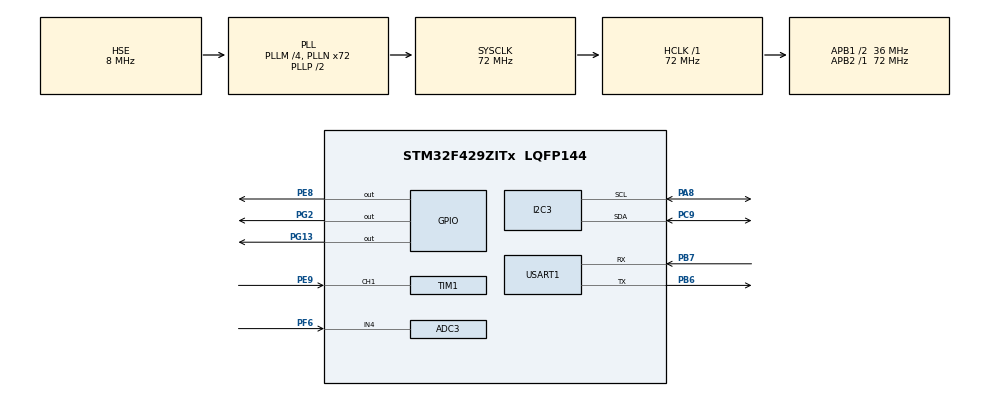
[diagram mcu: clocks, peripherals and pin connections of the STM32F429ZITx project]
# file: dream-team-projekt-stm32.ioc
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ADC3.Channel-2\#ChannelRegularConversion=ADC_CHANNEL_4
ADC3.DiscontinuousConvMode=DISABLE
ADC3.NbrOfConversionFlag=1
ADC3.Rank-2\#ChannelRegularConversion=1
ADC3.Resolution=ADC_RESOLUTION_12B
ADC3.SamplingTime-2\#ChannelRegularConversion=ADC_SAMPLETIME_3CYCLES
ADC3.ScanConvMode=DISABLE
Mcu.Family=STM32F4
Mcu.Name=STM32F429ZITx
Mcu.Package=LQFP144
NVIC.PriorityGroup=NVIC_PRIORITYGROUP_4
NVIC.TIM1_CC_IRQn=true\:0\:0\:false\:false\:true\:true\:true
NVIC.TIM2_IRQn=true\:0\:0\:false\:false\:true\:true\:true
NVIC.USART1_IRQn=true\:0\:0\:false\:false\:true\:true\:true
PA8.Mode=I2C
PA8.Signal=I2C3_SCL
PB6.Mode=Asynchronous
PB6.Signal=USART1_TX
PB7.Mode=Asynchronous
PB7.Signal=USART1_RX
PC14/OSC32_IN.Mode=LSE-External-Oscillator
PC14/OSC32_IN.Signal=RCC_OSC32_IN
PC15/OSC32_OUT.Mode=LSE-External-Oscillator
PC15/OSC32_OUT.Signal=RCC_OSC32_OUT
PC9.Mode=I2C
PC9.Signal=I2C3_SDA
PE8.Signal=GPIO_Output
PE9.Signal=S_TIM1_CH1
PF6.Mode=IN4
PF6.Signal=ADC3_IN4
PG13.Signal=GPIO_Output
PG2.GPIO_PuPd=GPIO_PULLDOWN
PG2.GPIO_Speed=GPIO_SPEED_FREQ_VERY_HIGH
PG2.Signal=GPIO_Output
PH0/OSC_IN.Mode=HSE-External-Oscillator
PH0/OSC_IN.Signal=RCC_OSC_IN
PH1/OSC_OUT.Mode=HSE-External-Oscillator
PH1/OSC_OUT.Signal=RCC_OSC_OUT
ProjectManager.HeapSize=0x200
ProjectManager.StackSize=0x400
ProjectManager.TargetToolchain=STM32CubeIDE
RCC.48MHZClocksFreq_Value=36000000
RCC.AHBFreq_Value=72000000
RCC.APB1CLKDivider=RCC_HCLK_DIV2
RCC.APB1Freq_Value=36000000
RCC.APB1TimFreq_Value=72000000
RCC.APB2Freq_Value=72000000
RCC.APB2TimFreq_Value=72000000
RCC.CortexFreq_Value=72000000
RCC.HCLKFreq_Value=72000000
RCC.HSE_VALUE=8000000
RCC.HSI_VALUE=16000000
RCC.PLLM=4
RCC.PLLN=72
RCC.PLLSourceVirtual=RCC_PLLSOURCE_HSE
RCC.SYSCLKFreq_VALUE=72000000
RCC.SYSCLKSource=RCC_SYSCLKSOURCE_PLLCLK
RCC.VCOOutputFreq_Value=144000000
SH.S_TIM1_CH1.0=TIM1_CH1,Input_Capture1_from_TI1
TIM1.Channel-Input_Capture1_from_TI1=TIM_CHANNEL_1
TIM1.Prescaler=71
TIM2.Period=35999
TIM2.Prescaler=1
USART1.VirtualMode=VM_ASYNC
VP_TIM2_VS_ClockSourceINT.Mode=Internal
board=custom

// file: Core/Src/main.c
/* USER CODE BEGIN Header */
/**
  ******************************************************************************
  * @file           : main.c
  * @brief          : Main program body
  ******************************************************************************
  * @attention
  *
  * <h2><center>&copy; Copyright (c) 2021 STMicroelectronics.
  * All rights reserved.</center></h2>
  *
  * This software component is licensed by ST under BSD 3-Clause license,
  * the "License"; You may not use this file except in compliance with the
  * License. You may obtain a copy of the License at:
  *                        opensource.org/licenses/BSD-3-Clause
  *
  ******************************************************************************
  */
/* USER CODE END Header */
#include "main.h"
#include "adc.h"
#include "i2c.h"
#include "tim.h"
#include "usart.h"
#include "gpio.h"

/* USER CODE BEGIN Includes */
#include <stdio.h>
#include <string.h>

#include "hcsr04.h"
#include "wifi.h"
#include "bme280.h"
#include "sh.h"
/* USER CODE END Includes */

/* USER CODE BEGIN PV */
SH senzor_tlo;
uint8_t errNum = 0;
BME280 senzor_zrak;
uint8_t errors = 0;
int8_t err = 0;

volatile uint8_t MJERI;
/* USER CODE END PV */

void SystemClock_Config(void);
/* USER CODE BEGIN PFP */
void Mjerenje_Vrijednosti();
/* USER CODE END PFP */

int main(void)
{

  /* MCU Configuration--------------------------------------------------------*/

  /* Reset of all peripherals, Initializes the Flash interface and the Systick. */
  HAL_Init();

  /* Configure the system clock */
  SystemClock_Config();

  /* Initialize all configured peripherals */
  MX_GPIO_Init();
  MX_USART1_UART_Init();
  MX_I2C3_Init();
  MX_ADC3_Init();
  MX_TIM2_Init();
  MX_TIM1_Init();
  /* USER CODE BEGIN 2 */
  HAL_TIM_IC_Start_IT(&htim1, TIM_CHANNEL_1);

  /*
   * INICIJALIZACIJA SENZORA ZA ZRAK I PROVJERA USPJESNOSTI
   */
  errors =  BME280_Initialise(&senzor_zrak, &hi2c3);
  if(errors != 0) {
	  HAL_GPIO_WritePin(GPIOG,GPIO_PIN_13,GPIO_PIN_SET);
  	 // while(1);
  }

  /*
   * SPAJANJE ESP-A I PROVJERA USPJESNOSTI
   */
  err = WIFI_Init("AndroidAP1", "moaa3738");
  if(err != 0) {
	  HAL_GPIO_WritePin(GPIOG,GPIO_PIN_13,GPIO_PIN_SET);
  	  // while(1);
  }

  /*
   * PROVJERA ISPRAVNOSTI MJERENJA SENZORA ZA ZRAK
   */
  errors = BME280_PerformMeasurements(&senzor_zrak);
  if(errors != 0) {
	  HAL_GPIO_WritePin(GPIOG,GPIO_PIN_13,GPIO_PIN_SET);
  	  // while(1);
  }

  /*
   * POCETNA MJERENJA SENZORA ZA ZRAK U SVRHU KALIBRACIJE
   */
  for (int i = 0; i <= 4; i++) {
	  BME280_ReadData(&senzor_zrak);
	  BME280_PerformMeasurements(&senzor_zrak);
  }

  /*
   * INICIJALIZACIJA SENZORA ZA TLO
   */
  SH_init(&senzor_tlo, &hadc3);

  /*
   * POCETNA MJERENJA ZA TLO
   */
  errors = SH_ReadData(&senzor_tlo);
  if(errors != 0) {
	  HAL_GPIO_WritePin(GPIOG,GPIO_PIN_13,GPIO_PIN_SET);
	  while(1);
  }

  /*
   * POCETNA MJERENJA RAZINE VODE
   */
  HCSR04_Read();
  HAL_Delay(500);

  /*
   * SLANJE POCETNIH MJERENJA NA SERVER
   */
  WIFI_SendRequestWithParams("ekantica.herokuapp.com", "/data",(double) 25.0, (double) senzor_tlo.soilHumidity, (double) 60.0, (double) Percentage);

  /*
   * POKRETANJE TIMERA
   */
  HAL_TIM_Base_Start_IT(&htim2);

  /* USER CODE END 2 */

  /* Infinite loop */
  /* USER CODE BEGIN WHILE */
  while (1)
  {
	  if (MJERI == 1) {
	      		Mjerenje_Vrijednosti();
	      		MJERI = 0;
	      		HAL_TIM_Base_Start_IT(&htim2);
	  }
    /* USER CODE END WHILE */

  }
}

void SystemClock_Config(void)
{
  RCC_OscInitTypeDef RCC_OscInitStruct = {0};
  RCC_ClkInitTypeDef RCC_ClkInitStruct = {0};

  /** Configure the main internal regulator output voltage
  */
  __HAL_RCC_PWR_CLK_ENABLE();
  __HAL_PWR_VOLTAGESCALING_CONFIG(PWR_REGULATOR_VOLTAGE_SCALE3);
  /** Initializes the RCC Oscillators according to the specified parameters
  * in the RCC_OscInitTypeDef structure.
  */
  RCC_OscInitStruct.OscillatorType = RCC_OSCILLATORTYPE_HSE;
  RCC_OscInitStruct.HSEState = RCC_HSE_ON;
  RCC_OscInitStruct.PLL.PLLState = RCC_PLL_ON;
  RCC_OscInitStruct.PLL.PLLSource = RCC_PLLSOURCE_HSE;
  RCC_OscInitStruct.PLL.PLLM = 4;
  RCC_OscInitStruct.PLL.PLLN = 72;
  RCC_OscInitStruct.PLL.PLLP = RCC_PLLP_DIV2;
  RCC_OscInitStruct.PLL.PLLQ = 4;
  if (HAL_RCC_OscConfig(&RCC_OscInitStruct) != HAL_OK)
  {
    Error_Handler();
  }
  /** Initializes the CPU, AHB and APB buses clocks
  */
  RCC_ClkInitStruct.ClockType = RCC_CLOCKTYPE_HCLK|RCC_CLOCKTYPE_SYSCLK
                              |RCC_CLOCKTYPE_PCLK1|RCC_CLOCKTYPE_PCLK2;
  RCC_ClkInitStruct.SYSCLKSource = RCC_SYSCLKSOURCE_PLLCLK;
  RCC_ClkInitStruct.AHBCLKDivider = RCC_SYSCLK_DIV1;
  RCC_ClkInitStruct.APB1CLKDivider = RCC_HCLK_DIV2;
  RCC_ClkInitStruct.APB2CLKDivider = RCC_HCLK_DIV1;

  if (HAL_RCC_ClockConfig(&RCC_ClkInitStruct, FLASH_LATENCY_2) != HAL_OK)
  {
    Error_Handler();
  }
}

/* USER CODE BEGIN 4 */

void Mjerenje_Vrijednosti(){
	/*
	  HAL_GPIO_WritePin(GPIOG,GPIO_PIN_13,GPIO_PIN_SET);
	  HAL_Delay(500);
	  HAL_GPIO_WritePin(GPIOG,GPIO_PIN_13,GPIO_PIN_RESET);
	  */

	/*
	 * MJERENJA ZA ZRAK
	 */
	BME280_PerformMeasurements(&senzor_zrak);
	err = BME280_ReadData(&senzor_zrak);
	if(err != HAL_OK) {
		HAL_GPIO_WritePin(GPIOG,GPIO_PIN_13,GPIO_PIN_SET);
		// while(1);
	}

	/*
	 * MJERENJA ZA TLO
	 */
	errors = SH_ReadData(&senzor_tlo);
	if(errors != 0) {
		HAL_GPIO_WritePin(GPIOG,GPIO_PIN_13,GPIO_PIN_SET);
		// while(1);
	}

	/*
	 * MJERENJA RAZINE VODE
	 */
	HCSR04_Read();
	HAL_Delay(500);

    // ne brisati timer jer ce hsr04 mozda poslati staru vrijednost
	  /*
	  HAL_GPIO_WritePin(GPIOG,GPIO_PIN_13,GPIO_PIN_SET);
	  HAL_Delay(5000);
	  HAL_GPIO_WritePin(GPIOG,GPIO_PIN_13,GPIO_PIN_RESET);
	  HAL_Delay(500);
	  */

	/*
	 * SLANJE PODATAKA NA SERVER
	 */
	int8_t val = WIFI_SendRequestWithParams("ekantica.herokuapp.com", "/data",(double) 25.0, (double) senzor_tlo.soilHumidity, (double) 60.0, (double) Percentage);

	 if(val == 0) {

	 } else if(val == 1) {
		gpio_pump_state(1);
		timer2_wait_millisec(PUMP_WORKING_TIME);
		gpio_pump_state(0);
	} else {
		//error; kratak blink nakon errora
		HAL_GPIO_WritePin(GPIOG,GPIO_PIN_13,GPIO_PIN_SET);
		HAL_Delay(500);
		HAL_GPIO_WritePin(GPIOG,GPIO_PIN_13,GPIO_PIN_RESET);
		HAL_Delay(1000);
	 }
}

/* USER CODE END 4 */

void Error_Handler(void)
{
  __disable_irq();
  while (1)
  {
  }
}
